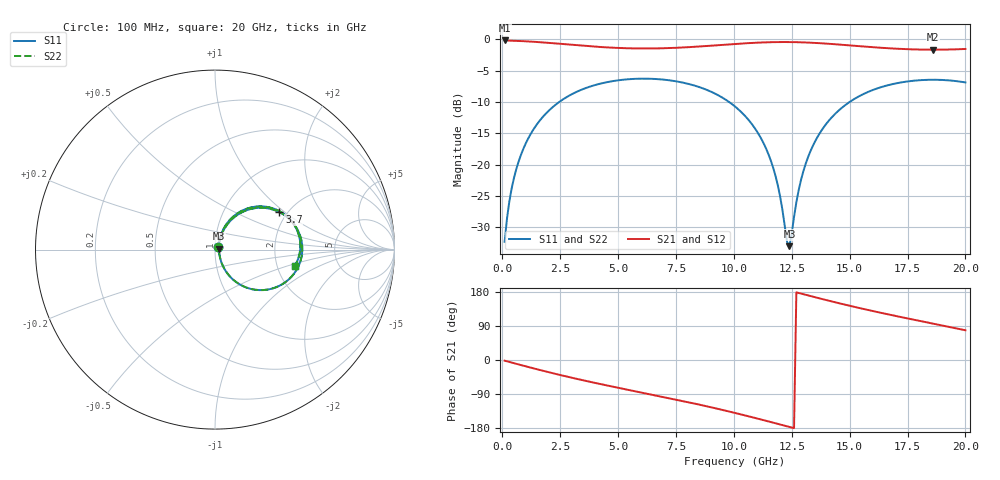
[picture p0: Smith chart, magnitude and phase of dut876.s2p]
! Touchstone file exported from HFSS 2026.1.0
!  File:  C:/ffzhzh/LocalFiles/Ansys_Project_Files/temp_train_TSV_RDL_876_1783272862_5512.aedt
!  Generated:  01:48:22 AM Jul  6, 2026
!  Design:  TSV_RDL
!  Project:  temp_train_TSV_RDL_876_1783272862_5512
! Variables:
!  h_bsmrdl = 3.88um
!  h_ox = 20um
!  h_rdl = 5um
!  h_sub = 84.17um
!  h_tmrdl = 4.19um
!  h_tsv = 84.17um
!  h_via = 3um
!  l_bsmrdl = 429.81um
!  l_sub = 4794.61um
!  l_tmrdl = 741.48um
!  m_sub = 200um
!  pitch = 47.09um
!  r_tsv = 7.49um
!  s_tmrdl = 10um
!  w_bsmrdl = 23.84um
!  w_sub = 500um
!  w_tmrdl = 22.58um
!  x_tsv_center1 = 752.77um
!  x_tsv_center2 = 1206.42um
!  x_tsv_center3 = 1970.48um
!  x_tsv_center4 = 2424.13um
!  x_tsv_center5 = 3188.19um
!  x_tsv_center6 = 3641.84um
# GHz S MA R 50.000000
! Terminal data exported
! Port[1] = TM_RDL1_1_T1
! Port[2] = TM_RDL5_1_T1
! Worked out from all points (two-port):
!   200 points, 100 MHz to 20 GHz, reference 50 ohm
!   highest |S21| = -0.16 dB at 100 MHz (marker M1); lowest = -1.6 dB at 18.6 GHz (marker M2)
!   |S21| within 3 dB of the highest: start of sweep to end of sweep
!   lowest |S11| = -33.0 dB at 12.4 GHz (marker M3), VSWR 1.05, Z = 52.2 + j0.466 ohm
!   |S11| at or under -10 dB: start of sweep to 2.454 GHz; 9.799 GHz to 14.99 GHz (5.195 GHz wide, 41.9 % of centre)
!   |S22| runs from -32.9 to -6.3 dB; largest |S21 - S12| = 1.7e-14
!   S11 on the Smith chart (normalised r, x): 100 MHz: 1.04, +0.03; 3.7 GHz: 1.82, +0.92; 20 GHz: 2.50, -0.58
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0.1  0.02415 40.1  0.9819 -1.7  0.9819 -1.7  0.02415 40.1
! Gamma 0 0 0 0
! Port Impedance 50 0 50 0
0.3  0.05022 61.6  0.9791 -5.1  0.9791 -5.1  0.05022 61.6
0.5  0.07767 66.0  0.9763 -8.4  0.9763 -8.4  0.07767 66.0
1.1  0.1592 63.8  0.9649 -18.1  0.9649 -18.1  0.1592 63.8
2.1  0.28 51.4  0.936 -33.7  0.936 -33.7  0.28 51.4
3.5  0.4022 32.9  0.8901 -53.7  0.8901 -53.7  0.4022 32.9
3.7  0.415 30.3  0.8842 -56.4  0.8842 -56.4  0.415 30.3
5.3  0.4785 10.5  0.8517 -77.0  0.8517 -77.0  0.4786 10.5
6.8  0.4807 -7.4  0.8495 -95.7  0.8495 -95.7  0.4808 -7.4
8.6  0.4108 -29.5  0.8808 -119.0  0.8808 -119.0  0.4108 -29.5
10.1  0.2864 -48.9  0.9217 -140.4  0.9217 -140.4  0.2865 -48.9
10.9  0.1962 -58.8  0.9406 -152.7  0.9406 -152.7  0.1962 -58.8
11.5  0.1204 -64.0  0.9501 -162.2  0.9501 -162.2  0.1205 -63.9
11.9  0.06826 -62.0  0.9533 -168.6  0.9533 -168.6  0.06839 -61.8
12.3  0.02407 -21.1  0.9537 -175.0  0.9537 -175.0  0.02432 -21.0
12.4  0.02232 11.5  0.9534 -176.6  0.9534 -176.6  0.02255 11.3
12.9  0.07538 66.6  0.9491 175.3  0.9491 175.3  0.0754 66.4
13.4  0.1397 66.8  0.9408 167.3  0.9408 167.3  0.1397 66.7
14.7  0.2882 52.2  0.9062 147.5  0.9062 147.5  0.2882 52.2
16.7  0.4332 27.2  0.8502 119.9  0.8502 119.9  0.4332 27.1
18.6  0.4766 4.7  0.8285 96.0  0.8285 96.0  0.4766 4.7
20  0.4535 -11.7  0.8395 78.4  0.8395 78.4  0.4536 -11.7
